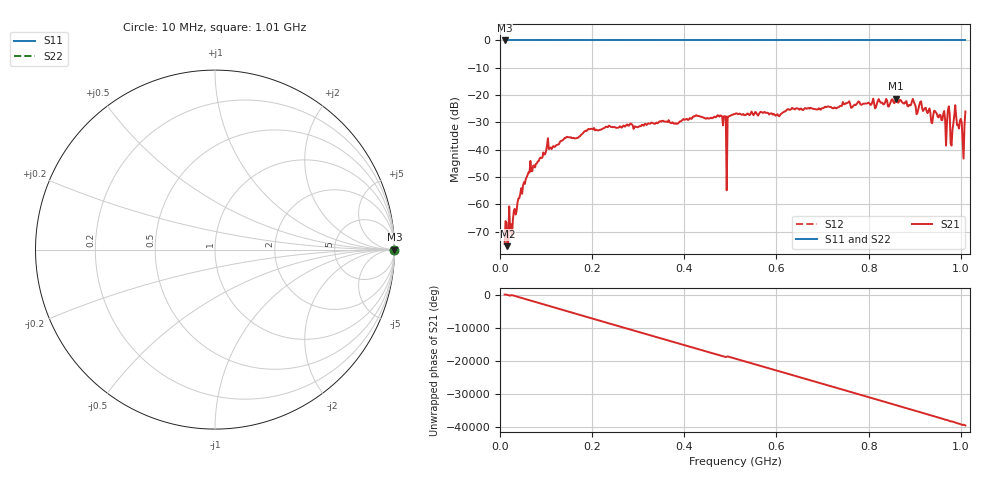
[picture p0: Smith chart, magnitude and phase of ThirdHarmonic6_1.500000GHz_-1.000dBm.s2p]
! 8/16/2025 5:37:18 PM
! C:\ANRITSUVNA\TEMP\TEMP.S2P
! CHANNEL.1
! TR.MEASUREMENT
! RAW.DATA
! RF.CORRECTION.OFF
! AVERAGING.OFF
! IF.BANDWIDTH: 5KHZ
! SWEEPTYPE:  FREQ.SWEEP(Linear)
! Reference Plane Port Info
! PORT:  PORT1  PORT2
! DISTANCE:  0  m  0  m
! TIME:  0  s  0  s
! PHASE.OFFSET:  0  deg.  0  deg.
! LOSS:  0  dB  0  dB
! REF.LOSS:  0  dB  0  dB
! REF.FREQ:  0  Hz  0  Hz
! Power Info
! POWER:  -20  dBm  -20  dBm
! EFF.POWER:  -20  dBm  -20  dBm
! SOURCE.ATTEN:  0  dB  0  dB
! TEST.ATTEN:  0  dB  0  dB
# GHZ S RI R 50.0
! FREQ.GHZ  S11RE  S11IM  S21RE  S21IM  S12RE  S12IM  S22RE  S22IM
!; PortSelection: Port_12
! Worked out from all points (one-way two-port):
!   501 points, 10 MHz to 1.01 GHz, reference 50 ohm
!   highest |S21| = -21.25 dB at 860 MHz (marker M1); lowest = -75.3 dB at 16 MHz (marker M2)
!   lowest |S11| = 0.0 dB at 10 MHz (marker M3)
!   |S11| at or under -10 dB: nowhere
!   |S22| runs from 0.0 to 0.0 dB; largest |S21 - S12| = 1.1
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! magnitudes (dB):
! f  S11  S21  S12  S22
! 10 MHz  0.0  -74.4  0.0  0.0
! 14 MHz  0.0  -66.7  0.0  0.0
! 16 MHz  0.0  -75.3  0.0  0.0
! 26 MHz  0.0  -72.0  0.0  0.0
! 62 MHz  0.0  -48.2  0.0  0.0
! 100 MHz  0.0  -40.5  0.0  0.0
! 178 MHz  0.0  -34.3  0.0  0.0
! 344 MHz  0.0  -30.1  0.0  0.0
! 476 MHz  0.0  -27.9  0.0  0.0
! 486 MHz  0.0  -27.7  0.0  0.0
! 488 MHz  0.0  -27.9  0.0  0.0
! 496 MHz  0.0  -27.9  0.0  0.0
! 498 MHz  0.0  -27.6  0.0  0.0
! 510 MHz  0.0  -26.9  0.0  0.0
! 678 MHz  0.0  -24.9  0.0  0.0
! 844 MHz  0.0  -24.2  0.0  0.0
! 860 MHz  0.0  -21.3  0.0  0.0
! 974 MHz  0.0  -24.1  0.0  0.0
! 980 MHz  0.0  -38.5  0.0  0.0
! 988 MHz  0.0  -23.7  0.0  0.0
! 1.004 GHz  0.0  -36.3  0.0  0.0
! 1.01 GHz  0.0  -26.0  0.0  0.0
